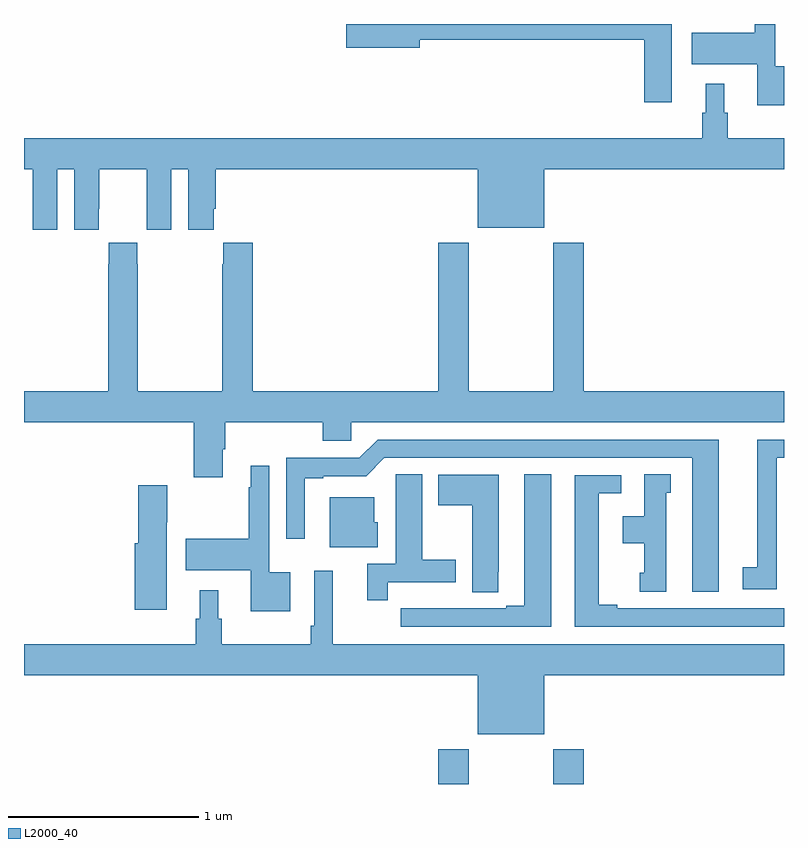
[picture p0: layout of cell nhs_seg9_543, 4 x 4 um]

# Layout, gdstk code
import gdstk
lib = gdstk.Library(unit=1e-6, precision=1e-09)
def R(c, l, rs):  # rectangles x0, y0, x1, y1
    for r in rs: c.add(gdstk.rectangle(r[:2], r[2:], *l))
def P(c, l, *ps):  # polygons
    for p in ps: c.add(gdstk.Polygon(p, *l))
L2000_40 = (2000, 40)

nhs_seg9_543 = lib.new_cell('nhs_seg9_543')
R(nhs_seg9_543, L2000_40, [(139.181,1210.5,139.341,1210.684), (139.786,1210.5,139.946,1210.684)])
P(nhs_seg9_543, L2000_40, [(141,1214.278),(140.955,1214.278),(140.955,1214.5),(140.847,1214.5),(140.847,1214.454),(140.514,1214.454),(140.514,1214.288),(140.858,1214.288),(140.858,1214.072),(141,1214.072)],
  [(140.41,1214.5),(138.696,1214.5),(138.696,1214.374),(139.084,1214.374),(139.084,1214.416),(140.264,1214.416),(140.264,1214.088),(140.41,1214.088)],
  [(137,1213.736),(137.045,1213.736),(137.045,1213.528),(137.046,1213.528),(137.046,1213.416),(137.176,1213.416),(137.176,1213.736),(137.264,1213.736),(137.264,1213.416),(137.394,1213.416),(137.394,1213.528),(137.395,1213.528),(137.395,1213.736),(137.645,1213.736),(137.645,1213.528),(137.646,1213.528),(137.646,1213.416),(137.776,1213.416),(137.776,1213.736),(137.864,1213.736),(137.864,1213.416),(137.998,1213.416),(137.998,1213.528),(138.008,1213.528),(138.008,1213.736),(139.388,1213.736),(139.388,1213.427),(139.738,1213.427),(139.738,1213.736),(141,1213.736),(141,1213.9),(140.705,1213.9),(140.705,1214.034),(140.686,1214.034),(140.686,1214.185),(140.588,1214.185),(140.588,1214.034),(140.569,1214.034),(140.569,1213.9),(137,1213.9)],
  [(138.046,1212.262),(138.059,1212.262),(138.059,1212.404),(138.572,1212.404),(138.572,1212.306),(138.723,1212.306),(138.723,1212.404),(141,1212.404),(141,1212.568),(139.946,1212.568),(139.946,1213.348),(139.786,1213.348),(139.786,1212.568),(139.341,1212.568),(139.341,1213.348),(139.181,1213.348),(139.181,1212.568),(138.203,1212.568),(138.203,1213.348),(138.049,1213.348),(138.049,1213.235),(138.043,1213.235),(138.043,1212.568),(137.598,1212.568),(137.598,1213.235),(137.595,1213.235),(137.595,1213.348),(137.445,1213.348),(137.445,1213.235),(137.443,1213.235),(137.443,1212.568),(137,1212.568),(137,1212.404),(137.894,1212.404),(137.894,1212.114),(138.046,1212.114)],
  [(140.656,1212.312),(138.861,1212.312),(138.765,1212.216),(138.381,1212.216),(138.381,1211.79),(138.478,1211.79),(138.478,1212.108),(138.574,1212.108),(138.574,1212.12),(138.801,1212.12),(138.897,1212.216),(140.516,1212.216),(140.516,1211.511),(140.656,1211.511)],
  [(140.962,1212.216),(141,1212.216),(141,1212.312),(140.858,1212.312),(140.858,1211.642),(140.784,1211.642),(140.784,1211.526),(140.962,1211.526)],
  [(138.4,1211.614),(138.291,1211.614),(138.291,1212.175),(138.194,1212.175),(138.194,1212.062),(138.183,1212.062),(138.183,1211.79),(137.85,1211.79),(137.85,1211.624),(138.194,1211.624),(138.194,1211.408),(138.4,1211.408)],
  [(140.38,1212.033),(140.404,1212.033),(140.404,1212.131),(140.264,1212.131),(140.264,1211.908),(140.15,1211.908),(140.15,1211.768),(140.264,1211.768),(140.264,1211.613),(140.24,1211.613),(140.24,1211.511),(140.38,1211.511)],
  [(138.914,1211.562),(139.273,1211.562),(139.273,1211.679),(139.096,1211.679),(139.096,1212.131),(138.957,1212.131),(138.957,1212.02),(138.956,1212.02),(138.956,1211.658),(138.806,1211.658),(138.806,1211.466),(138.914,1211.466)],
  [(139.774,1212.131),(139.634,1212.131),(139.634,1211.439),(139.538,1211.439),(139.538,1211.424),(139.262,1211.424),(139.262,1211.425),(139.096,1211.425),(139.096,1211.424),(138.984,1211.424),(138.984,1211.328),(139.774,1211.328)],
  [(139.497,1211.617),(139.498,1211.617),(139.498,1212.127),(139.181,1212.127),(139.181,1211.968),(139.358,1211.968),(139.358,1211.509),(139.497,1211.509)],
  [(141,1211.424),(140.122,1211.424),(140.122,1211.444),(140.026,1211.444),(140.026,1212.03),(140.143,1212.03),(140.143,1212.126),(139.898,1212.126),(139.898,1211.328),(141,1211.328)],
  [(137.752,1211.878),(137.754,1211.878),(137.754,1212.073),(137.6,1212.073),(137.6,1211.766),(137.582,1211.766),(137.582,1211.418),(137.752,1211.418)],
  [(138.862,1211.877),(138.844,1211.877),(138.844,1212.01),(138.608,1212.01),(138.608,1211.747),(138.862,1211.747)],
  [(139.388,1210.763),(139.738,1210.763),(139.738,1211.072),(141,1211.072),(141,1211.236),(138.626,1211.236),(138.626,1211.623),(138.528,1211.623),(138.528,1211.332),(138.508,1211.332),(138.508,1211.236),(138.041,1211.236),(138.041,1211.37),(138.022,1211.37),(138.022,1211.521),(137.924,1211.521),(137.924,1211.37),(137.905,1211.37),(137.905,1211.236),(137,1211.236),(137,1211.072),(139.388,1211.072)])

lib.write_gds('nhs_seg9_543.gds')
